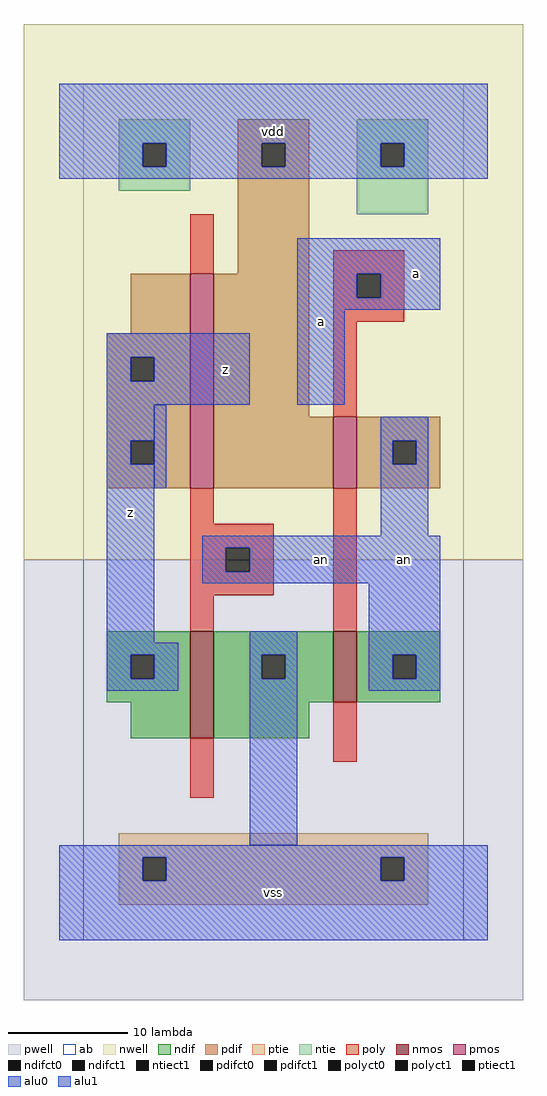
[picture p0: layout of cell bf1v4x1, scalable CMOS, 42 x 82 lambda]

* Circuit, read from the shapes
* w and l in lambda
.subckt bf1v4x1 a an vdd vss z
M1 vss an z vss nfet w=9 l=2
M2 an a vss vss nfet w=6 l=2
M3 vdd an z vdd pfet w=18 l=2
M4 an a vdd vdd pfet w=6 l=2
.ends

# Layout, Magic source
magic
tech scmos
<< ab >>
rect 0 0 32 72
<< nwell >>
rect -5 32 37 77
<< pwell >>
rect -5 -5 37 32
<< poly >>
rect 9 56 11 61
rect 21 56 27 58
rect 21 54 23 56
rect 25 54 27 56
rect 21 52 27 54
rect 21 44 23 52
rect 9 35 11 38
rect 9 33 16 35
rect 9 31 12 33
rect 14 31 16 33
rect 9 29 16 31
rect 9 26 11 29
rect 21 26 23 38
rect 9 12 11 17
rect 21 15 23 20
<< ndif >>
rect 2 24 9 26
rect 2 22 4 24
rect 6 22 9 24
rect 2 20 9 22
rect 4 17 9 20
rect 11 24 21 26
rect 11 22 15 24
rect 17 22 21 24
rect 11 20 21 22
rect 23 24 30 26
rect 23 22 26 24
rect 28 22 30 24
rect 23 20 30 22
rect 11 17 19 20
<< pdif >>
rect 13 67 19 69
rect 13 65 15 67
rect 17 65 19 67
rect 13 56 19 65
rect 4 51 9 56
rect 2 49 9 51
rect 2 47 4 49
rect 6 47 9 49
rect 2 42 9 47
rect 2 40 4 42
rect 6 40 9 42
rect 2 38 9 40
rect 11 44 19 56
rect 11 38 21 44
rect 23 42 30 44
rect 23 40 26 42
rect 28 40 30 42
rect 23 38 30 40
<< alu1 >>
rect -2 67 34 72
rect -2 65 5 67
rect 7 65 15 67
rect 17 65 25 67
rect 27 65 34 67
rect -2 64 34 65
rect 18 56 30 59
rect 18 54 23 56
rect 25 54 30 56
rect 18 53 30 54
rect 2 49 14 51
rect 2 47 4 49
rect 6 47 14 49
rect 2 45 14 47
rect 18 45 22 53
rect 2 42 6 45
rect 2 40 4 42
rect 2 25 6 40
rect 2 24 8 25
rect 2 22 4 24
rect 6 22 8 24
rect 2 21 8 22
rect -2 7 34 8
rect -2 5 5 7
rect 7 5 25 7
rect 27 5 34 7
rect -2 0 34 5
<< ptie >>
rect 3 7 29 9
rect 3 5 5 7
rect 7 5 25 7
rect 27 5 29 7
rect 3 3 29 5
<< ntie >>
rect 3 67 9 69
rect 3 65 5 67
rect 7 65 9 67
rect 3 63 9 65
rect 23 67 29 69
rect 23 65 25 67
rect 27 65 29 67
rect 23 61 29 65
<< nmos >>
rect 9 17 11 26
rect 21 20 23 26
<< pmos >>
rect 9 38 11 56
rect 21 38 23 44
<< polyct0 >>
rect 12 31 14 33
<< polyct1 >>
rect 23 54 25 56
<< ndifct0 >>
rect 15 22 17 24
rect 26 22 28 24
<< ndifct1 >>
rect 4 22 6 24
<< ntiect1 >>
rect 5 65 7 67
rect 25 65 27 67
<< ptiect1 >>
rect 5 5 7 7
rect 25 5 27 7
<< pdifct0 >>
rect 26 40 28 42
<< pdifct1 >>
rect 15 65 17 67
rect 4 47 6 49
rect 4 40 6 42
<< alu0 >>
rect 6 38 7 45
rect 25 42 29 44
rect 25 40 26 42
rect 28 40 29 42
rect 25 34 29 40
rect 10 33 30 34
rect 10 31 12 33
rect 14 31 30 33
rect 10 30 30 31
rect 14 24 18 26
rect 14 22 15 24
rect 17 22 18 24
rect 14 8 18 22
rect 24 24 30 30
rect 24 22 26 24
rect 28 22 30 24
rect 24 21 30 22
<< labels >>
rlabel alu0 27 32 27 32 6 an
rlabel alu0 20 32 20 32 6 an
rlabel alu1 4 36 4 36 6 z
rlabel alu1 16 4 16 4 6 vss
rlabel alu1 12 48 12 48 6 z
rlabel alu1 16 68 16 68 6 vdd
rlabel alu1 20 52 20 52 6 a
rlabel alu1 28 56 28 56 6 a
<< end >>
